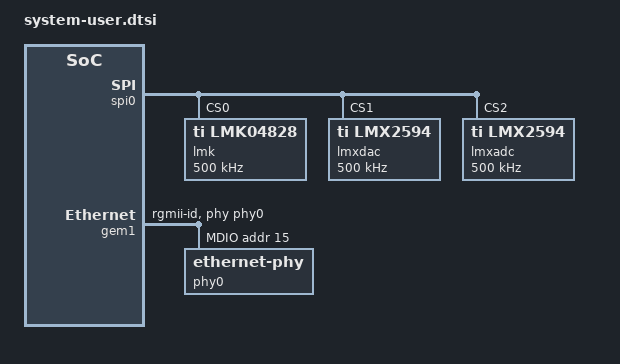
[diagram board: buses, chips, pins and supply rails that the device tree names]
/*
 * RFSoC4x2 board-level additions for the PetaLinux 2025.2 port.
 *
 * This preserves the known-good 2023.2 SD boot, reference-clock SPI, and
 * Ethernet configuration. Revalidate every node against the generated 2025.2
 * system-conf.dtsi before using the image on hardware.
 */

/include/ "system-conf.dtsi"

/ {
	chosen {
		bootargs = "earlycon console=ttyPS0,115200 clk_ignore_unused root=/dev/mmcblk0p2 rootwait rw sdhci.debug_quirks2=4";
		stdout-path = "serial0:115200n8";
	};
};

&sdhci0 {
	no-1-8-v;
};

&spi0 {
	status = "okay";

	lmk@0 {
		compatible = "ti,lmk04828";
		reg = <0x0>;
		spi-max-frequency = <500000>;
		num_bytes = <3>;
	};

	lmxdac@1 {
		compatible = "ti,lmx2594";
		reg = <0x1>;
		spi-max-frequency = <500000>;
		num_bytes = <3>;
	};

	lmxadc@2 {
		compatible = "ti,lmx2594";
		reg = <0x2>;
		spi-max-frequency = <500000>;
		num_bytes = <3>;
	};
};

&gem1 {
	status = "okay";
	phy-handle = <&phy0>;
	phy-mode = "rgmii-id";

	mdio {
		#address-cells = <1>;
		#size-cells = <0>;

		phy0: ethernet-phy@f {
			reg = <0xf>;
			ti,rx-internal-delay = <0x8>;
			ti,tx-internal-delay = <0xa>;
			ti,fifo-depth = <0x1>;
			ti,dp83867-rxctrl-strap-quirk;
		};
	};
};
